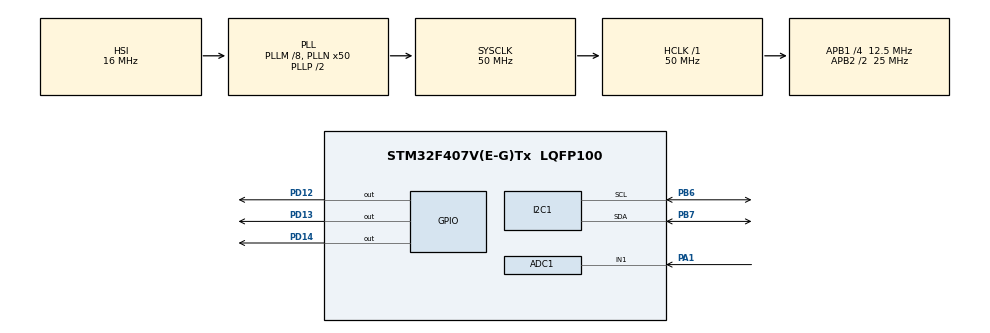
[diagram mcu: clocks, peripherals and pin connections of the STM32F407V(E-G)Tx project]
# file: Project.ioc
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ADC1.Channel-1\#ChannelRegularConversion=ADC_CHANNEL_1
ADC1.NbrOfConversionFlag=1
ADC1.Rank-1\#ChannelRegularConversion=1
ADC1.SamplingTime-1\#ChannelRegularConversion=ADC_SAMPLETIME_3CYCLES
ADC1.master=1
Mcu.Family=STM32F4
Mcu.Name=STM32F407V(E-G)Tx
Mcu.Package=LQFP100
NVIC.PriorityGroup=NVIC_PRIORITYGROUP_0
PA1.Signal=ADCx_IN1
PB6.Mode=I2C
PB6.Signal=I2C1_SCL
PB7.Mode=I2C
PB7.Signal=I2C1_SDA
PD12.Signal=GPIO_Output
PD13.Signal=GPIO_Output
PD14.Signal=GPIO_Output
ProjectManager.HeapSize=0x200
ProjectManager.StackSize=0x400
ProjectManager.TargetToolchain=STM32CubeIDE
RCC.48MHZClocksFreq_Value=14285714.285714285
RCC.AHBFreq_Value=50000000
RCC.APB1CLKDivider=RCC_HCLK_DIV4
RCC.APB1Freq_Value=12500000
RCC.APB1TimFreq_Value=25000000
RCC.APB2CLKDivider=RCC_HCLK_DIV2
RCC.APB2Freq_Value=25000000
RCC.APB2TimFreq_Value=50000000
RCC.CortexFreq_Value=50000000
RCC.HCLKFreq_Value=50000000
RCC.HSE_VALUE=8000000
RCC.HSI_VALUE=16000000
RCC.LSE_VALUE=32768
RCC.PLLM=8
RCC.PLLN=50
RCC.PLLQ=7
RCC.SYSCLKFreq_VALUE=50000000
RCC.SYSCLKSource=RCC_SYSCLKSOURCE_PLLCLK
RCC.VCOOutputFreq_Value=100000000
SH.ADCx_IN1.0=ADC1_IN1,IN1
board=STM32F407G-DISC1

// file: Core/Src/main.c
/* USER CODE BEGIN Header */
/**
  ******************************************************************************
  * @file           : main.c
  * @brief          : Main program body
  ******************************************************************************
  * @attention
  *
  * Copyright (c) 2025 STMicroelectronics.
  * All rights reserved.
  *
  * This software is licensed under terms that can be found in the LICENSE file
  * in the root directory of this software component.
  * If no LICENSE file comes with this software, it is provided AS-IS.
  *
  ******************************************************************************
  */
/* USER CODE END Header */
#include "main.h"
#include "MQ2.h"
#include "my_lcd.h"
#include <stdio.h>

ADC_HandleTypeDef hadc1;

I2C_HandleTypeDef hi2c1;

void SystemClock_Config(void);
static void MX_GPIO_Init(void);
static void MX_I2C1_Init(void);
static void MX_ADC1_Init(void);

int main(void)
{

  /* MCU Configuration--------------------------------------------------------*/

  /* Reset of all peripherals, Initializes the Flash interface and the Systick. */
  HAL_Init();

  /* Configure the system clock */
  SystemClock_Config();

  /* Initialize all configured peripherals */
  MX_GPIO_Init();
  MX_I2C1_Init();
  MX_ADC1_Init();
  /* USER CODE BEGIN 2 */

  char str[50];
  int gas;
  if(!lcd16x2_i2c_init(&hi2c1))
  {
	  while(1);  //lcd not detected
  }

  /* USER CODE END 2 */

  /* Infinite loop */
  while (1)
  {

    /* USER CODE BEGIN 3 */

	  gas= mq2_Read();
	  	  lcd16x2_i2c_clear();
	  	  lcd16x2_i2c_setCursor(0, 0);
	  	  lcd16x2_i2c_printf("smoke detect:");
	        lcd16x2_i2c_setCursor(1, 0);
	        sprintf(str, " ADC:%d", gas);
	  	 lcd16x2_i2c_printf(str);
	  	  HAL_Delay(1000);

	  	 HAL_GPIO_WritePin(GPIOD,GPIO_PIN_12|GPIO_PIN_14,GPIO_PIN_RESET);
	      if (gas >200 && gas<800)
	  	  {
	  	 HAL_GPIO_WritePin(GPIOD, GPIO_PIN_12, GPIO_PIN_SET);
	       }
	      else if(gas>800)
	  	 {
	  	  HAL_GPIO_WritePin(GPIOD, GPIO_PIN_14, GPIO_PIN_SET);
	  	   }

	/*  	// Turn OFF both pins first
	  	HAL_GPIO_WritePin(GPIOD, GPIO_PIN_12 | GPIO_PIN_14, GPIO_PIN_RESET);

	  	if (gas > 200 && gas <= 500)
	  	{
	  	    // Low warning
	  	    HAL_GPIO_WritePin(GPIOD, GPIO_PIN_12, GPIO_PIN_SET);
	  	}
	  	else if (gas > 500 && gas <= 700)
	  	{
	  	    // Medium warning
	  	    HAL_GPIO_WritePin(GPIOD, GPIO_PIN_14, GPIO_PIN_SET);
	  	}
	  	else if (gas > 700)
	  	{
	  	    // High danger
	  	    HAL_GPIO_WritePin(GPIOD, GPIO_PIN_15, GPIO_PIN_SET);
	  	}*/

  }
  /* USER CODE END 3 */
}

void SystemClock_Config(void)
{
  RCC_OscInitTypeDef RCC_OscInitStruct = {0};
  RCC_ClkInitTypeDef RCC_ClkInitStruct = {0};

  /** Configure the main internal regulator output voltage
  */
  __HAL_RCC_PWR_CLK_ENABLE();
  __HAL_PWR_VOLTAGESCALING_CONFIG(PWR_REGULATOR_VOLTAGE_SCALE1);

  /** Initializes the RCC Oscillators according to the specified parameters
  * in the RCC_OscInitTypeDef structure.
  */
  RCC_OscInitStruct.OscillatorType = RCC_OSCILLATORTYPE_HSI;
  RCC_OscInitStruct.HSIState = RCC_HSI_ON;
  RCC_OscInitStruct.HSICalibrationValue = RCC_HSICALIBRATION_DEFAULT;
  RCC_OscInitStruct.PLL.PLLState = RCC_PLL_ON;
  RCC_OscInitStruct.PLL.PLLSource = RCC_PLLSOURCE_HSI;
  RCC_OscInitStruct.PLL.PLLM = 8;
  RCC_OscInitStruct.PLL.PLLN = 50;
  RCC_OscInitStruct.PLL.PLLP = RCC_PLLP_DIV2;
  RCC_OscInitStruct.PLL.PLLQ = 7;
  if (HAL_RCC_OscConfig(&RCC_OscInitStruct) != HAL_OK)
  {
    Error_Handler();
  }

  /** Initializes the CPU, AHB and APB buses clocks
  */
  RCC_ClkInitStruct.ClockType = RCC_CLOCKTYPE_HCLK|RCC_CLOCKTYPE_SYSCLK
                              |RCC_CLOCKTYPE_PCLK1|RCC_CLOCKTYPE_PCLK2;
  RCC_ClkInitStruct.SYSCLKSource = RCC_SYSCLKSOURCE_PLLCLK;
  RCC_ClkInitStruct.AHBCLKDivider = RCC_SYSCLK_DIV1;
  RCC_ClkInitStruct.APB1CLKDivider = RCC_HCLK_DIV4;
  RCC_ClkInitStruct.APB2CLKDivider = RCC_HCLK_DIV2;

  if (HAL_RCC_ClockConfig(&RCC_ClkInitStruct, FLASH_LATENCY_1) != HAL_OK)
  {
    Error_Handler();
  }
}

static void MX_ADC1_Init(void)
{

  ADC_ChannelConfTypeDef sConfig = {0};

  /** Configure the global features of the ADC (Clock, Resolution, Data Alignment and number of conversion)
  */
  hadc1.Instance = ADC1;
  hadc1.Init.ClockPrescaler = ADC_CLOCK_SYNC_PCLK_DIV2;
  hadc1.Init.Resolution = ADC_RESOLUTION_12B;
  hadc1.Init.ScanConvMode = DISABLE;
  hadc1.Init.ContinuousConvMode = DISABLE;
  hadc1.Init.DiscontinuousConvMode = DISABLE;
  hadc1.Init.ExternalTrigConvEdge = ADC_EXTERNALTRIGCONVEDGE_NONE;
  hadc1.Init.ExternalTrigConv = ADC_SOFTWARE_START;
  hadc1.Init.DataAlign = ADC_DATAALIGN_RIGHT;
  hadc1.Init.NbrOfConversion = 1;
  hadc1.Init.DMAContinuousRequests = DISABLE;
  hadc1.Init.EOCSelection = ADC_EOC_SINGLE_CONV;
  if (HAL_ADC_Init(&hadc1) != HAL_OK)
  {
    Error_Handler();
  }

  /** Configure for the selected ADC regular channel its corresponding rank in the sequencer and its sample time.
  */
  sConfig.Channel = ADC_CHANNEL_1;
  sConfig.Rank = 1;
  sConfig.SamplingTime = ADC_SAMPLETIME_3CYCLES;
  if (HAL_ADC_ConfigChannel(&hadc1, &sConfig) != HAL_OK)
  {
    Error_Handler();
  }

}

static void MX_I2C1_Init(void)
{

  hi2c1.Instance = I2C1;
  hi2c1.Init.ClockSpeed = 100000;
  hi2c1.Init.DutyCycle = I2C_DUTYCYCLE_2;
  hi2c1.Init.OwnAddress1 = 0;
  hi2c1.Init.AddressingMode = I2C_ADDRESSINGMODE_7BIT;
  hi2c1.Init.DualAddressMode = I2C_DUALADDRESS_DISABLE;
  hi2c1.Init.OwnAddress2 = 0;
  hi2c1.Init.GeneralCallMode = I2C_GENERALCALL_DISABLE;
  hi2c1.Init.NoStretchMode = I2C_NOSTRETCH_DISABLE;
  if (HAL_I2C_Init(&hi2c1) != HAL_OK)
  {
    Error_Handler();
  }

}

static void MX_GPIO_Init(void)
{
  GPIO_InitTypeDef GPIO_InitStruct = {0};

  /* GPIO Ports Clock Enable */
  __HAL_RCC_GPIOA_CLK_ENABLE();
  __HAL_RCC_GPIOD_CLK_ENABLE();
  __HAL_RCC_GPIOB_CLK_ENABLE();

  /*Configure GPIO pin Output Level */
  HAL_GPIO_WritePin(GPIOD, GPIO_PIN_12|GPIO_PIN_13|GPIO_PIN_14, GPIO_PIN_RESET);

  /*Configure GPIO pins : PD12 PD13 PD14 */
  GPIO_InitStruct.Pin = GPIO_PIN_12|GPIO_PIN_13|GPIO_PIN_14;
  GPIO_InitStruct.Mode = GPIO_MODE_OUTPUT_PP;
  GPIO_InitStruct.Pull = GPIO_NOPULL;
  GPIO_InitStruct.Speed = GPIO_SPEED_FREQ_LOW;
  HAL_GPIO_Init(GPIOD, &GPIO_InitStruct);

}

void Error_Handler(void)
{
  __disable_irq();
  while (1)
  {
  }
}
